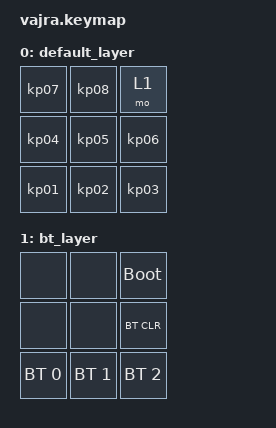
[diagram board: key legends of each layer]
#include <behaviors.dtsi>
#include <dt-bindings/zmk/keys.h>
#include <dt-bindings/zmk/bt.h>

/ {
	keymap {
		compatible = "zmk,keymap";

		default_layer {
			bindings = <
				&kp KP_07  &kp KP_08  &mo 1
				&kp KP_04  &kp KP_05  &kp KP_06 
				&kp KP_01  &kp KP_02  &kp KP_03 
			>;
		};
		bt_layer {
			bindings = <
				&none        &none        &bootloader 
				&none        &none        &bt BT_CLR 
				&bt BT_SEL 0 &bt BT_SEL 1 &bt BT_SEL 2
			>;
		};
	};
};
